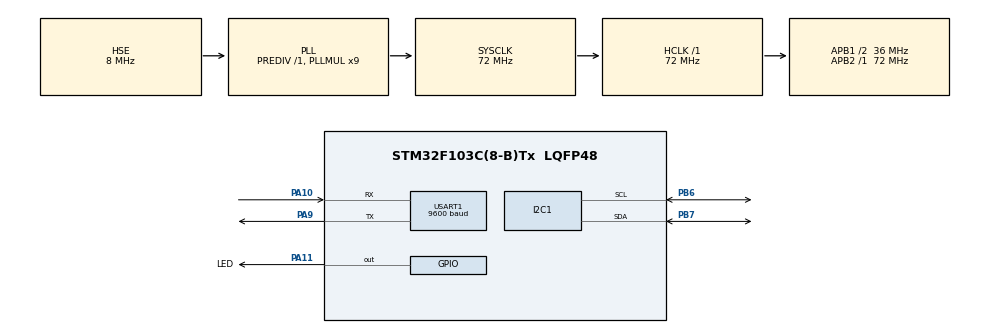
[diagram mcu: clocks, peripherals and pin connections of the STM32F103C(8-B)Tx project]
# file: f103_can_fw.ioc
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Dma.Request0=USART1_RX
Dma.USART1_RX.0.Direction=DMA_PERIPH_TO_MEMORY
Dma.USART1_RX.0.Instance=DMA1_Channel5
Dma.USART1_RX.0.MemDataAlignment=DMA_MDATAALIGN_BYTE
Dma.USART1_RX.0.MemInc=DMA_MINC_ENABLE
Dma.USART1_RX.0.Mode=DMA_NORMAL
Dma.USART1_RX.0.PeriphDataAlignment=DMA_PDATAALIGN_BYTE
Dma.USART1_RX.0.PeriphInc=DMA_PINC_DISABLE
Dma.USART1_RX.0.Priority=DMA_PRIORITY_LOW
Mcu.Family=STM32F1
Mcu.Name=STM32F103C(8-B)Tx
Mcu.Package=LQFP48
NVIC.DMA1_Channel5_IRQn=true\:0\:0\:false\:false\:true\:false\:true\:true
NVIC.PriorityGroup=NVIC_PRIORITYGROUP_4
NVIC.USART1_IRQn=true\:0\:0\:false\:false\:true\:true\:true\:true
PA10.Mode=Asynchronous
PA10.Signal=USART1_RX
PA11.GPIO_Label=LED
PA11.Signal=GPIO_Output
PA13.Mode=Serial_Wire
PA13.Signal=SYS_JTMS-SWDIO
PA14.Mode=Serial_Wire
PA14.Signal=SYS_JTCK-SWCLK
PA9.Mode=Asynchronous
PA9.Signal=USART1_TX
PB6.Mode=I2C
PB6.Signal=I2C1_SCL
PB7.Mode=I2C
PB7.Signal=I2C1_SDA
PD0-OSC_IN.Mode=HSE-External-Oscillator
PD0-OSC_IN.Signal=RCC_OSC_IN
PD1-OSC_OUT.Mode=HSE-External-Oscillator
PD1-OSC_OUT.Signal=RCC_OSC_OUT
ProjectManager.HeapSize=0x200
ProjectManager.StackSize=0x400
ProjectManager.TargetToolchain=STM32CubeIDE
RCC.AHBFreq_Value=72000000
RCC.APB1CLKDivider=RCC_HCLK_DIV2
RCC.APB1Freq_Value=36000000
RCC.APB1TimFreq_Value=72000000
RCC.APB2Freq_Value=72000000
RCC.APB2TimFreq_Value=72000000
RCC.HCLKFreq_Value=72000000
RCC.PLLMUL=RCC_PLL_MUL9
RCC.PLLSourceVirtual=RCC_PLLSOURCE_HSE
RCC.SYSCLKFreq_VALUE=72000000
RCC.SYSCLKSource=RCC_SYSCLKSOURCE_PLLCLK
RCC.USBFreq_Value=72000000
USART1.BaudRate=9600
USART1.VirtualMode=VM_ASYNC
board=custom

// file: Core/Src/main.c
/* USER CODE BEGIN Header */
/**
  ******************************************************************************
  * @file           : main.c
  * @brief          : Main program body
  ******************************************************************************
  * @attention
  *
  * Copyright (c) 2026 STMicroelectronics.
  * All rights reserved.
  *
  * This software is licensed under terms that can be found in the LICENSE file
  * in the root directory of this software component.
  * If no LICENSE file comes with this software, it is provided AS-IS.
  *
  ******************************************************************************
  */
/* USER CODE END Header */
#include <stdio.h>
#include "main.h"
#include "dma.h"
#include "i2c.h"
#include "usart.h"
#include "gpio.h"
#include "bme280.h"
#include "ssd1306.h"

/* USER CODE BEGIN PTD */

BME280_Data_t BME280;
/* USER CODE END PTD */

/* USER CODE BEGIN PM */
void SystemClock_Config(void);
/* USER CODE END PM */

/* USER CODE BEGIN PV */
float temp = 0;
float hum = 0;

char rxBuf[256];
/* USER CODE END PV */

void SystemClock_Config(void);

/* USER CODE BEGIN 0 */
void Sensor_Init(void)
{

  //Init structure definition section
  BME280_Init_t BME280_InitStruct = {0};

  //Reset section
  Reset_BME280();

  /*============================ *BME280 Initialization* ============================*/

  BME280_InitStruct.Filter = FILTER_8;            //FILTER_X
  BME280_InitStruct.Mode = BME280_NORMAL_MODE;      //SLEEP, NORMAL or FORCE can be written
  BME280_InitStruct.OverSampling_H = OVERSAMPLING_16;   //OVERSAMPLING_X
  BME280_InitStruct.OverSampling_P = OVERSAMPLING_16;   //OVERSAMPLING_X
  BME280_InitStruct.OverSampling_T = OVERSAMPLING_16;   //OVERSAMPLING_X
  BME280_InitStruct.SPI_EnOrDıs = SPI3_W_DISABLE;     //SPI3_W_DISABLE or SPI3_W_ENABLE can be written
  BME280_InitStruct.T_StandBy = T_SB_250;         //T_SB_X

  BME280Init(BME280_InitStruct);
}
/* USER CODE END 0 */

int main(void)
{

  /* MCU Configuration--------------------------------------------------------*/

  /* Reset of all peripherals, Initializes the Flash interface and the Systick. */
  HAL_Init();

  /* Configure the system clock */
  SystemClock_Config();

  /* Initialize all configured peripherals */
  MX_GPIO_Init();
  MX_DMA_Init();
  MX_I2C1_Init();
  MX_USART1_UART_Init();
  /* USER CODE BEGIN 2 */
  Sensor_Init();

  ssd1306_init();
  ssd1306_set_cursor(5, 0);

  ssd1306_write_string(font6x8, " - Rotech ssd1603 -");
  ssd1306_enter();

  ssd1306_update_screen();

  /* USER CODE END 2 */

  /* Infinite loop */
  while (1)
    {
      BME280Calculation(&BME280);

      temp = BME280.Temperature;
      hum = BME280.Humidity;

      sprintf(rxBuf, "Temp: %.2f C", temp);

      ssd1306_set_cursor(5, 20);
      ssd1306_write_string(font6x8, rxBuf);

      sprintf(rxBuf, "hum: %.2f ", hum);
      ssd1306_set_cursor(5, 30);
      ssd1306_write_string(font6x8, rxBuf);

      ssd1306_update_screen();

      HAL_Delay(500);
      /* USER CODE BEGIN 3 */
    }
}

void SystemClock_Config(void)
{
  RCC_OscInitTypeDef RCC_OscInitStruct = {0};
  RCC_ClkInitTypeDef RCC_ClkInitStruct = {0};

  /** Initializes the RCC Oscillators according to the specified parameters
  * in the RCC_OscInitTypeDef structure.
  */
  RCC_OscInitStruct.OscillatorType = RCC_OSCILLATORTYPE_HSE;
  RCC_OscInitStruct.HSEState = RCC_HSE_ON;
  RCC_OscInitStruct.HSEPredivValue = RCC_HSE_PREDIV_DIV1;
  RCC_OscInitStruct.HSIState = RCC_HSI_ON;
  RCC_OscInitStruct.PLL.PLLState = RCC_PLL_ON;
  RCC_OscInitStruct.PLL.PLLSource = RCC_PLLSOURCE_HSE;
  RCC_OscInitStruct.PLL.PLLMUL = RCC_PLL_MUL9;
  if (HAL_RCC_OscConfig(&RCC_OscInitStruct) != HAL_OK)
  {
    Error_Handler();
  }

  /** Initializes the CPU, AHB and APB buses clocks
  */
  RCC_ClkInitStruct.ClockType = RCC_CLOCKTYPE_HCLK|RCC_CLOCKTYPE_SYSCLK
                              |RCC_CLOCKTYPE_PCLK1|RCC_CLOCKTYPE_PCLK2;
  RCC_ClkInitStruct.SYSCLKSource = RCC_SYSCLKSOURCE_PLLCLK;
  RCC_ClkInitStruct.AHBCLKDivider = RCC_SYSCLK_DIV1;
  RCC_ClkInitStruct.APB1CLKDivider = RCC_HCLK_DIV2;
  RCC_ClkInitStruct.APB2CLKDivider = RCC_HCLK_DIV1;

  if (HAL_RCC_ClockConfig(&RCC_ClkInitStruct, FLASH_LATENCY_2) != HAL_OK)
  {
    Error_Handler();
  }
}

void Error_Handler(void)
{
  __disable_irq();
  while (1)
  {
  }
}
